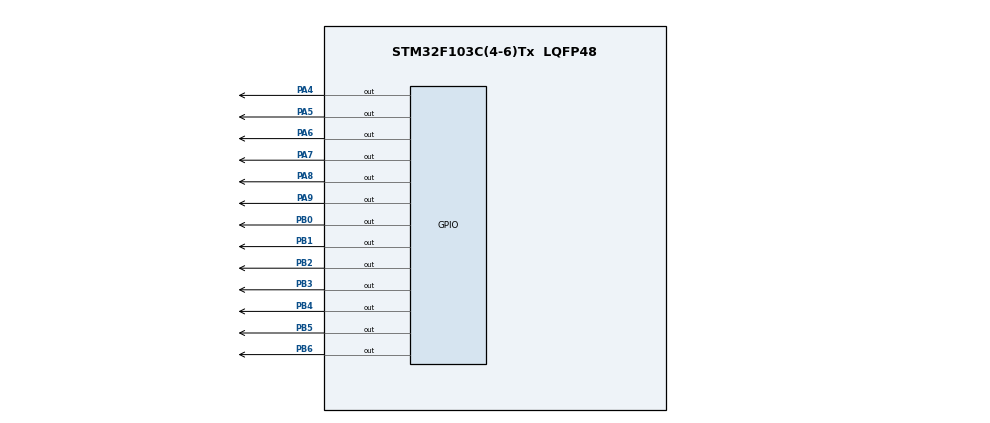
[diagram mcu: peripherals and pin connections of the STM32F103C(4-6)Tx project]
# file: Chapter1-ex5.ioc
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Mcu.Family=STM32F1
Mcu.Name=STM32F103C(4-6)Tx
Mcu.Package=LQFP48
NVIC.PriorityGroup=NVIC_PRIORITYGROUP_4
PA4.Signal=GPIO_Output
PA5.Signal=GPIO_Output
PA6.Signal=GPIO_Output
PA7.Signal=GPIO_Output
PA8.Signal=GPIO_Output
PA9.Signal=GPIO_Output
PB0.Signal=GPIO_Output
PB1.Signal=GPIO_Output
PB2.Signal=GPIO_Output
PB3.Signal=GPIO_Output
PB4.Signal=GPIO_Output
PB5.Signal=GPIO_Output
PB6.Signal=GPIO_Output
ProjectManager.HeapSize=0x200
ProjectManager.StackSize=0x400
ProjectManager.TargetToolchain=STM32CubeIDE
RCC.APB1Freq_Value=8000000
RCC.APB2Freq_Value=8000000
VP_SYS_VS_ND.Mode=No_Debug
board=custom

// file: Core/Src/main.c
/* USER CODE BEGIN Header */
/**
  ******************************************************************************
  * @file           : main.c
  * @brief          : Main program body
  ******************************************************************************
  * @attention
  *
  * <h2><center>&copy; Copyright (c) 2021 STMicroelectronics.
  * All rights reserved.</center></h2>
  *
  * This software component is licensed by ST under BSD 3-Clause license,
  * the "License"; You may not use this file except in compliance with the
  * License. You may obtain a copy of the License at:
  *                        opensource.org/licenses/BSD-3-Clause
  *
  ******************************************************************************
  */
/* USER CODE END Header */
#include "main.h"

void SystemClock_Config(void);
static void MX_GPIO_Init(void);
/* USER CODE BEGIN PFP */
void display7SEG(int);
/* USER CODE END PFP */

int main(void)
{

  /* MCU Configuration--------------------------------------------------------*/

  /* Reset of all peripherals, Initializes the Flash interface and the Systick. */
  HAL_Init();

  /* Configure the system clock */
  SystemClock_Config();

  /* Initialize all configured peripherals */
  MX_GPIO_Init();

  /* Infinite loop */
  /* USER CODE BEGIN WHILE */
  while (1)
  {
	  for(int i = 9; i >= 0; i--) {
		  HAL_GPIO_WritePin(GPIOA, GPIO_PIN_4 | GPIO_PIN_5 | GPIO_PIN_6 | GPIO_PIN_7 | GPIO_PIN_8 | GPIO_PIN_9, 1);
		  if(i >= 5) {
			  HAL_GPIO_WritePin(GPIOA, GPIO_PIN_4, 0); // RV
			  display7SEG(i-5);
		  }
		  else if(i >= 2 && i < 5) {
			  HAL_GPIO_WritePin(GPIOA, GPIO_PIN_6, 0); // GV
			  display7SEG(i-2);
		  }
		  else {
			  HAL_GPIO_WritePin(GPIOA, GPIO_PIN_5, 0); // YV
			  display7SEG(i);
		  }

		  if(i >= 7) {
			  HAL_GPIO_WritePin(GPIOA, GPIO_PIN_9, 0); // GH
		  }
		  else if(i >= 5 && i < 7) {
			  HAL_GPIO_WritePin(GPIOA, GPIO_PIN_8, 0); // YH
		  }
		  else {
			  HAL_GPIO_WritePin(GPIOA, GPIO_PIN_7, 0); // RH
		  }
		  HAL_Delay(500);
	  }
    /* USER CODE END WHILE */

  }
}

void SystemClock_Config(void)
{
  RCC_OscInitTypeDef RCC_OscInitStruct = {0};
  RCC_ClkInitTypeDef RCC_ClkInitStruct = {0};

  /** Initializes the RCC Oscillators according to the specified parameters
  * in the RCC_OscInitTypeDef structure.
  */
  RCC_OscInitStruct.OscillatorType = RCC_OSCILLATORTYPE_HSI;
  RCC_OscInitStruct.HSIState = RCC_HSI_ON;
  RCC_OscInitStruct.HSICalibrationValue = RCC_HSICALIBRATION_DEFAULT;
  RCC_OscInitStruct.PLL.PLLState = RCC_PLL_NONE;
  if (HAL_RCC_OscConfig(&RCC_OscInitStruct) != HAL_OK)
  {
    Error_Handler();
  }
  /** Initializes the CPU, AHB and APB buses clocks
  */
  RCC_ClkInitStruct.ClockType = RCC_CLOCKTYPE_HCLK|RCC_CLOCKTYPE_SYSCLK
                              |RCC_CLOCKTYPE_PCLK1|RCC_CLOCKTYPE_PCLK2;
  RCC_ClkInitStruct.SYSCLKSource = RCC_SYSCLKSOURCE_HSI;
  RCC_ClkInitStruct.AHBCLKDivider = RCC_SYSCLK_DIV1;
  RCC_ClkInitStruct.APB1CLKDivider = RCC_HCLK_DIV1;
  RCC_ClkInitStruct.APB2CLKDivider = RCC_HCLK_DIV1;

  if (HAL_RCC_ClockConfig(&RCC_ClkInitStruct, FLASH_LATENCY_0) != HAL_OK)
  {
    Error_Handler();
  }
}

static void MX_GPIO_Init(void)
{
  GPIO_InitTypeDef GPIO_InitStruct = {0};

  /* GPIO Ports Clock Enable */
  __HAL_RCC_GPIOA_CLK_ENABLE();
  __HAL_RCC_GPIOB_CLK_ENABLE();

  /*Configure GPIO pin Output Level */
  HAL_GPIO_WritePin(GPIOA, GPIO_PIN_4|GPIO_PIN_5|GPIO_PIN_6|GPIO_PIN_7
                          |GPIO_PIN_8|GPIO_PIN_9, GPIO_PIN_RESET);

  /*Configure GPIO pin Output Level */
  HAL_GPIO_WritePin(GPIOB, GPIO_PIN_0|GPIO_PIN_1|GPIO_PIN_2|GPIO_PIN_3
                          |GPIO_PIN_4|GPIO_PIN_5|GPIO_PIN_6, GPIO_PIN_RESET);

  /*Configure GPIO pins : PA4 PA5 PA6 PA7
                           PA8 PA9 */
  GPIO_InitStruct.Pin = GPIO_PIN_4|GPIO_PIN_5|GPIO_PIN_6|GPIO_PIN_7
                          |GPIO_PIN_8|GPIO_PIN_9;
  GPIO_InitStruct.Mode = GPIO_MODE_OUTPUT_PP;
  GPIO_InitStruct.Pull = GPIO_NOPULL;
  GPIO_InitStruct.Speed = GPIO_SPEED_FREQ_LOW;
  HAL_GPIO_Init(GPIOA, &GPIO_InitStruct);

  /*Configure GPIO pins : PB0 PB1 PB2 PB3
                           PB4 PB5 PB6 */
  GPIO_InitStruct.Pin = GPIO_PIN_0|GPIO_PIN_1|GPIO_PIN_2|GPIO_PIN_3
                          |GPIO_PIN_4|GPIO_PIN_5|GPIO_PIN_6;
  GPIO_InitStruct.Mode = GPIO_MODE_OUTPUT_PP;
  GPIO_InitStruct.Pull = GPIO_NOPULL;
  GPIO_InitStruct.Speed = GPIO_SPEED_FREQ_LOW;
  HAL_GPIO_Init(GPIOB, &GPIO_InitStruct);

}

/* USER CODE BEGIN 4 */
void display7SEG(int num) {
	HAL_GPIO_WritePin(GPIOB, GPIO_PIN_0 | GPIO_PIN_1 | GPIO_PIN_2 | GPIO_PIN_3 | GPIO_PIN_4 | GPIO_PIN_5 | GPIO_PIN_6, 1);
		switch(num) {
		case 0:
			HAL_GPIO_WritePin(GPIOB, GPIO_PIN_0 | GPIO_PIN_1 | GPIO_PIN_2 | GPIO_PIN_3 | GPIO_PIN_4 | GPIO_PIN_5, 0);
			break;
		case 1:
			HAL_GPIO_WritePin(GPIOB, GPIO_PIN_1 | GPIO_PIN_2, 0);
			break;
		case 2:
			HAL_GPIO_WritePin(GPIOB, GPIO_PIN_0 | GPIO_PIN_1 | GPIO_PIN_3 | GPIO_PIN_4 | GPIO_PIN_6, 0);
			break;
		case 3:
			HAL_GPIO_WritePin(GPIOB, GPIO_PIN_0 | GPIO_PIN_1 | GPIO_PIN_2 | GPIO_PIN_3 | GPIO_PIN_6, 0);
			break;
		case 4:
			HAL_GPIO_WritePin(GPIOB, GPIO_PIN_1 | GPIO_PIN_2 | GPIO_PIN_5 | GPIO_PIN_6, 0);
			break;
		case 5:
			HAL_GPIO_WritePin(GPIOB, GPIO_PIN_0 | GPIO_PIN_2 | GPIO_PIN_3 | GPIO_PIN_5 | GPIO_PIN_6, 0);
			break;
		case 6:
			HAL_GPIO_WritePin(GPIOB, GPIO_PIN_0 | GPIO_PIN_2 | GPIO_PIN_3 | GPIO_PIN_4 | GPIO_PIN_5 | GPIO_PIN_6, 0);
			break;
		case 7:
			HAL_GPIO_WritePin(GPIOB, GPIO_PIN_0 | GPIO_PIN_1 | GPIO_PIN_2, 0);
			break;
		case 8:
			HAL_GPIO_WritePin(GPIOB, GPIO_PIN_0 | GPIO_PIN_1 | GPIO_PIN_2 | GPIO_PIN_3 | GPIO_PIN_4 | GPIO_PIN_5 | GPIO_PIN_6, 0);
			break;
		case 9:
			HAL_GPIO_WritePin(GPIOB, GPIO_PIN_0 | GPIO_PIN_1 | GPIO_PIN_2 | GPIO_PIN_3 | GPIO_PIN_5 | GPIO_PIN_6, 0);
			break;
		}
}
/* USER CODE END 4 */

void Error_Handler(void)
{
  __disable_irq();
  while (1)
  {
  }
}

/************************ (C) COPYRIGHT STMicroelectronics *****END OF FILE****/
